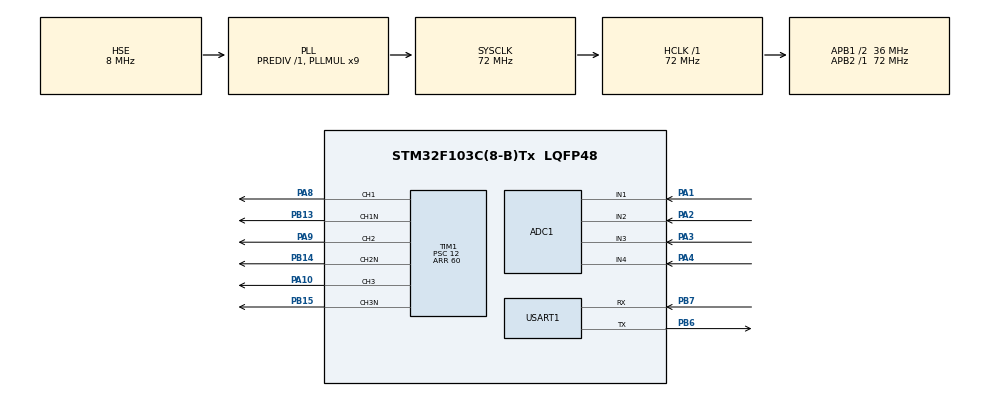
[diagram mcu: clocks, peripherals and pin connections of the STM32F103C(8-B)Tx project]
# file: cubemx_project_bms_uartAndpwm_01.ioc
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ADC1.Channel-0\#ChannelRegularConversion=ADC_CHANNEL_1
ADC1.ContinuousConvMode=ENABLE
ADC1.NbrOfConversionFlag=1
ADC1.Rank-0\#ChannelRegularConversion=1
ADC1.SamplingTime-0\#ChannelRegularConversion=ADC_SAMPLETIME_1CYCLE_5
ADC1.master=1
Mcu.Family=STM32F1
Mcu.Name=STM32F103C(8-B)Tx
Mcu.Package=LQFP48
NVIC.ADC1_2_IRQn=true\:0\:0\:false\:false\:true\:true\:true\:true
NVIC.PriorityGroup=NVIC_PRIORITYGROUP_4
NVIC.TIM1_CC_IRQn=true\:0\:0\:false\:false\:true\:true\:true\:true
NVIC.USART1_IRQn=true\:0\:0\:false\:false\:true\:true\:true\:true
PA1.Signal=ADCx_IN1
PA10.GPIO_Speed=GPIO_SPEED_FREQ_HIGH
PA10.Signal=S_TIM1_CH3
PA13.Mode=Serial_Wire
PA13.Signal=SYS_JTMS-SWDIO
PA14.Mode=Serial_Wire
PA14.Signal=SYS_JTCK-SWCLK
PA2.Signal=ADCx_IN2
PA3.Signal=ADCx_IN3
PA4.Signal=ADCx_IN4
PA8.GPIO_Speed=GPIO_SPEED_FREQ_HIGH
PA8.Signal=S_TIM1_CH1
PA9.GPIO_Speed=GPIO_SPEED_FREQ_HIGH
PA9.Signal=S_TIM1_CH2
PB13.GPIO_Speed=GPIO_SPEED_FREQ_HIGH
PB13.Mode=PWM Generation1 CH1 CH1N
PB13.Signal=TIM1_CH1N
PB14.GPIO_Speed=GPIO_SPEED_FREQ_HIGH
PB14.Mode=PWM Generation2 CH2 CH2N
PB14.Signal=TIM1_CH2N
PB15.GPIO_Speed=GPIO_SPEED_FREQ_HIGH
PB15.Mode=PWM Generation3 CH3 CH3N
PB15.Signal=TIM1_CH3N
PB6.Mode=Asynchronous
PB6.Signal=USART1_TX
PB7.Mode=Asynchronous
PB7.Signal=USART1_RX
PD0-OSC_IN.Mode=HSE-External-Oscillator
PD0-OSC_IN.Signal=RCC_OSC_IN
PD1-OSC_OUT.Mode=HSE-External-Oscillator
PD1-OSC_OUT.Signal=RCC_OSC_OUT
ProjectManager.HeapSize=0x200
ProjectManager.StackSize=0x400
ProjectManager.TargetToolchain=STM32CubeIDE
RCC.ADCPresc=RCC_ADCPCLK2_DIV6
RCC.AHBFreq_Value=72000000
RCC.APB1CLKDivider=RCC_HCLK_DIV2
RCC.APB1Freq_Value=36000000
RCC.APB1TimFreq_Value=72000000
RCC.APB2Freq_Value=72000000
RCC.APB2TimFreq_Value=72000000
RCC.HCLKFreq_Value=72000000
RCC.PLLMUL=RCC_PLL_MUL9
RCC.PLLSourceVirtual=RCC_PLLSOURCE_HSE
RCC.SYSCLKFreq_VALUE=72000000
RCC.SYSCLKSource=RCC_SYSCLKSOURCE_PLLCLK
RCC.USBFreq_Value=72000000
SH.ADCx_IN1.0=ADC1_IN1,IN1
SH.ADCx_IN2.0=ADC1_IN2,IN2
SH.ADCx_IN3.0=ADC1_IN3,IN3
SH.ADCx_IN4.0=ADC1_IN4,IN4
SH.S_TIM1_CH1.0=TIM1_CH1,PWM Generation1 CH1 CH1N
SH.S_TIM1_CH2.0=TIM1_CH2,PWM Generation2 CH2 CH2N
SH.S_TIM1_CH3.0=TIM1_CH3,PWM Generation3 CH3 CH3N
TIM1.Channel-PWM\ Generation1\ CH1\ CH1N=TIM_CHANNEL_1
TIM1.Channel-PWM\ Generation2\ CH2\ CH2N=TIM_CHANNEL_2
TIM1.Channel-PWM\ Generation3\ CH3\ CH3N=TIM_CHANNEL_3
TIM1.DeadTime=0
TIM1.Period=60 
TIM1.Prescaler=12 
TIM1.Pulse-PWM\ Generation1\ CH1\ CH1N=30
TIM1.Pulse-PWM\ Generation2\ CH2\ CH2N=40
TIM1.Pulse-PWM\ Generation3\ CH3\ CH3N=50
TIM1.TIM_MasterOutputTrigger=TIM_TRGO_UPDATE
TIM1.TIM_MasterSlaveMode=TIM_MASTERSLAVEMODE_ENABLE
USART1.VirtualMode=VM_ASYNC
VP_TIM1_VS_ClockSourceINT.Mode=Internal
board=custom

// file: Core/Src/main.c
/* USER CODE BEGIN Header */
/**
  ******************************************************************************
  * @file           : main.c
  * @brief          : Main program body
  ******************************************************************************
  * @attention
  *
  * Copyright (c) 2024 STMicroelectronics.
  * All rights reserved.
  *
  * This software is licensed under terms that can be found in the LICENSE file
  * in the root directory of this software component.
  * If no LICENSE file comes with this software, it is provided AS-IS.
  *
  ******************************************************************************
  */
/* USER CODE END Header */
#include "main.h"
#include "adc.h"
#include "tim.h"
#include "usart.h"
#include "gpio.h"

/* USER CODE BEGIN Includes */
#include <stdio.h>
#include <string.h>
#include <stdbool.h>
/* USER CODE END Includes */

/* USER CODE BEGIN PV */
uint8_t g_rxTempBuf[1];
uint8_t g_rxBuf[40];
uint8_t g_txBuf[40];
uint16_t g_rxIndex;
bool g_rxIntFlg;
/* USER CODE END PV */

void SystemClock_Config(void);
/* USER CODE BEGIN PFP */
void UsrOpenPwm1Channel1(void);
void UsrOpenPwm1Channel1Complementary(void);
void UsrOpenPwm1Channel2(void);
void UsrOpenPwm1Channel2Complementary(void);
void UsrOpenPwm1Channel3(void);
void UsrOpenPwm1Channel3Complementary(void);
/* USER CODE END PFP */

/* USER CODE BEGIN 0 */
void HAL_UART_RxCpltCallback(UART_HandleTypeDef *huart)
{
	if(huart->Instance == USART1)
	{
		g_rxBuf[g_rxIndex++] = g_rxTempBuf[0];
		if(g_rxIndex >= 40)
			g_rxIndex = 0;
		g_rxIntFlg = true;
		HAL_UART_Receive_IT(&huart1, (uint8_t*)g_rxTempBuf, 1);
	}
}

/*
	TIM_CLCOK = APB_TIM_CLOCK / PRESCALAR    72000000 / 72 = 1 MHz
	FREQUENCY = TIM_CLOCK / ARR              1000000 / 1000 = 1 KHz
	DUTY = (CCRx / ARR) x 100                200 / 1000 x100 = 20
*/

/* USER CODE END 0 */

int main(void)
{

  /* MCU Configuration--------------------------------------------------------*/

  /* Reset of all peripherals, Initializes the Flash interface and the Systick. */
  HAL_Init();

  /* Configure the system clock */
  SystemClock_Config();

  /* Initialize all configured peripherals */
  MX_GPIO_Init();
  MX_USART1_UART_Init();
  MX_TIM1_Init();
  MX_ADC1_Init();
  /* USER CODE BEGIN 2 */

  HAL_UART_Receive_IT(&huart1, (uint8_t*)g_rxTempBuf, 1);
  memset(g_txBuf, 0, 40);
  HAL_UART_Transmit(&huart1, (uint8_t*)g_txBuf, sprintf((char*)g_txBuf, "While Loop was started\n"), 100);

  /* USER CODE END 2 */

  /* Infinite loop */
  while (1)
  {

    /* USER CODE BEGIN 3 */

	  if(g_rxIntFlg)
	  {
		  if (g_rxTempBuf[0] == '1')
		  {
			  UsrOpenPwm1Channel1();
		  }
		  else if (g_rxTempBuf[0] == '2')
		  {
			  UsrOpenPwm1Channel2();
		  }
		  else if (g_rxTempBuf[0] == '3')
		  {
			  UsrOpenPwm1Channel3();
		  }
		  else if (g_rxTempBuf[0] == '4')
		  {
			  UsrOpenPwm1Channel1Complementary();
		  }
		  else if (g_rxTempBuf[0] == '5')
		  {
			  UsrOpenPwm1Channel2Complementary();
		  }
		  else if (g_rxTempBuf[0] == '6')
		  {
			  UsrOpenPwm1Channel3Complementary();
		  }
		  g_rxIntFlg = false;
	  }
  }
  /* USER CODE END 3 */
}

void SystemClock_Config(void)
{
  RCC_OscInitTypeDef RCC_OscInitStruct = {0};
  RCC_ClkInitTypeDef RCC_ClkInitStruct = {0};
  RCC_PeriphCLKInitTypeDef PeriphClkInit = {0};

  /** Initializes the RCC Oscillators according to the specified parameters
  * in the RCC_OscInitTypeDef structure.
  */
  RCC_OscInitStruct.OscillatorType = RCC_OSCILLATORTYPE_HSE;
  RCC_OscInitStruct.HSEState = RCC_HSE_ON;
  RCC_OscInitStruct.HSEPredivValue = RCC_HSE_PREDIV_DIV1;
  RCC_OscInitStruct.HSIState = RCC_HSI_ON;
  RCC_OscInitStruct.PLL.PLLState = RCC_PLL_ON;
  RCC_OscInitStruct.PLL.PLLSource = RCC_PLLSOURCE_HSE;
  RCC_OscInitStruct.PLL.PLLMUL = RCC_PLL_MUL9;
  if (HAL_RCC_OscConfig(&RCC_OscInitStruct) != HAL_OK)
  {
    Error_Handler();
  }

  /** Initializes the CPU, AHB and APB buses clocks
  */
  RCC_ClkInitStruct.ClockType = RCC_CLOCKTYPE_HCLK|RCC_CLOCKTYPE_SYSCLK
                              |RCC_CLOCKTYPE_PCLK1|RCC_CLOCKTYPE_PCLK2;
  RCC_ClkInitStruct.SYSCLKSource = RCC_SYSCLKSOURCE_PLLCLK;
  RCC_ClkInitStruct.AHBCLKDivider = RCC_SYSCLK_DIV1;
  RCC_ClkInitStruct.APB1CLKDivider = RCC_HCLK_DIV2;
  RCC_ClkInitStruct.APB2CLKDivider = RCC_HCLK_DIV1;

  if (HAL_RCC_ClockConfig(&RCC_ClkInitStruct, FLASH_LATENCY_2) != HAL_OK)
  {
    Error_Handler();
  }
  PeriphClkInit.PeriphClockSelection = RCC_PERIPHCLK_ADC;
  PeriphClkInit.AdcClockSelection = RCC_ADCPCLK2_DIV6;
  if (HAL_RCCEx_PeriphCLKConfig(&PeriphClkInit) != HAL_OK)
  {
    Error_Handler();
  }
}

/* USER CODE BEGIN 4 */
void UsrOpenPwm1Channel1(void)
{
	HAL_TIM_PWM_Start(&htim1, TIM_CHANNEL_1);
	HAL_TIM_PWM_Stop(&htim1, TIM_CHANNEL_2);
	HAL_TIM_PWM_Stop(&htim1, TIM_CHANNEL_3);

	HAL_TIMEx_PWMN_Stop(&htim1, TIM_CHANNEL_1);
	HAL_TIMEx_PWMN_Stop(&htim1, TIM_CHANNEL_2);
	HAL_TIMEx_PWMN_Stop(&htim1, TIM_CHANNEL_3);
}

void UsrOpenPwm1Channel1Complementary(void)
{
	HAL_TIMEx_PWMN_Start(&htim1, TIM_CHANNEL_1);
	HAL_TIMEx_PWMN_Stop(&htim1, TIM_CHANNEL_2);
	HAL_TIMEx_PWMN_Stop(&htim1, TIM_CHANNEL_3);

	HAL_TIM_PWM_Stop(&htim1, TIM_CHANNEL_1);
	HAL_TIM_PWM_Stop(&htim1, TIM_CHANNEL_2);
	HAL_TIM_PWM_Stop(&htim1, TIM_CHANNEL_3);
}

void UsrOpenPwm1Channel2(void)
{
	HAL_TIM_PWM_Stop(&htim1, TIM_CHANNEL_1);
	HAL_TIM_PWM_Start(&htim1, TIM_CHANNEL_2);
	HAL_TIM_PWM_Stop(&htim1, TIM_CHANNEL_3);

	HAL_TIMEx_PWMN_Stop(&htim1, TIM_CHANNEL_1);
	HAL_TIMEx_PWMN_Stop(&htim1, TIM_CHANNEL_2);
	HAL_TIMEx_PWMN_Stop(&htim1, TIM_CHANNEL_3);
}

void UsrOpenPwm1Channel2Complementary(void)
{
	HAL_TIMEx_PWMN_Stop(&htim1, TIM_CHANNEL_1);
	HAL_TIMEx_PWMN_Start(&htim1, TIM_CHANNEL_2);
	HAL_TIMEx_PWMN_Stop(&htim1, TIM_CHANNEL_3);

	HAL_TIM_PWM_Stop(&htim1, TIM_CHANNEL_1);
	HAL_TIM_PWM_Stop(&htim1, TIM_CHANNEL_2);
	HAL_TIM_PWM_Stop(&htim1, TIM_CHANNEL_3);
}

void UsrOpenPwm1Channel3(void)
{
	HAL_TIM_PWM_Stop(&htim1, TIM_CHANNEL_1);
	HAL_TIM_PWM_Stop(&htim1, TIM_CHANNEL_2);
	HAL_TIM_PWM_Start(&htim1, TIM_CHANNEL_3);

	HAL_TIMEx_PWMN_Stop(&htim1, TIM_CHANNEL_1);
	HAL_TIMEx_PWMN_Stop(&htim1, TIM_CHANNEL_2);
	HAL_TIMEx_PWMN_Stop(&htim1, TIM_CHANNEL_3);
}

void UsrOpenPwm1Channel3Complementary(void)
{
	HAL_TIMEx_PWMN_Stop(&htim1, TIM_CHANNEL_1);
	HAL_TIMEx_PWMN_Stop(&htim1, TIM_CHANNEL_2);
	HAL_TIMEx_PWMN_Start(&htim1, TIM_CHANNEL_3);

	HAL_TIM_PWM_Stop(&htim1, TIM_CHANNEL_1);
	HAL_TIM_PWM_Stop(&htim1, TIM_CHANNEL_2);
	HAL_TIM_PWM_Stop(&htim1, TIM_CHANNEL_3);
}

/* USER CODE END 4 */

void Error_Handler(void)
{
  __disable_irq();
  while (1)
  {
  }
}
